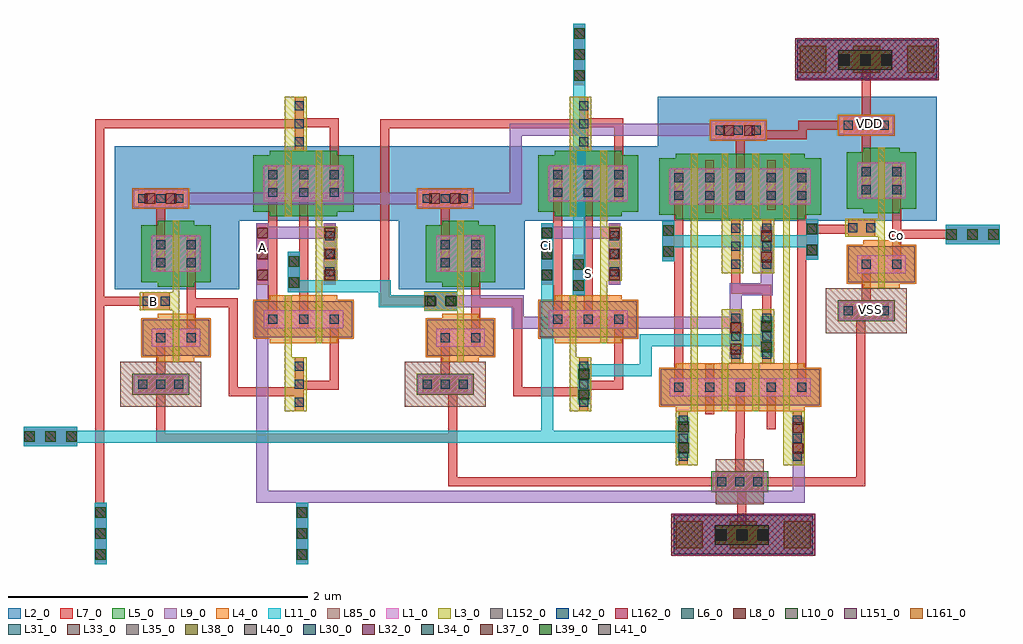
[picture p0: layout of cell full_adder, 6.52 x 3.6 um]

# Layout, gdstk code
import gdstk
lib = gdstk.Library(unit=1e-6, precision=5e-10)
def R(c, l, rs):  # rectangles x0, y0, x1, y1
    for r in rs: c.add(gdstk.rectangle(r[:2], r[2:], *l))
def A(c, l, x, y, w, h, nx, ny, dx, dy):  # array of equal rectangles
    R(c, l, [(x+i*dx, y+j*dy, x+i*dx+w, y+j*dy+h) for i in range(nx) for j in range(ny)])
def P(c, l, *ps):  # polygons
    for p in ps: c.add(gdstk.Polygon(p, *l))
L1_0 = (1, 0)
L2_0 = (2, 0)
L3_0 = (3, 0)
L4_0 = (4, 0)
L5_0 = (5, 0)
L6_0 = (6, 0)
L7_0 = (7, 0)
L8_0 = (8, 0)
L9_0 = (9, 0)
L10_0 = (10, 0)
L11_0 = (11, 0)
L30_0 = (30, 0)
L31_0 = (31, 0)
L32_0 = (32, 0)
L33_0 = (33, 0)
L34_0 = (34, 0)
L35_0 = (35, 0)
L37_0 = (37, 0)
L38_0 = (38, 0)
L39_0 = (39, 0)
L40_0 = (40, 0)
L41_0 = (41, 0)
L42_0 = (42, 0)
L85_0 = (85, 0)
L151_0 = (151, 0)
L152_0 = (152, 0)
L161_0 = (161, 0)
L162_0 = (162, 0)

pmos1v_cdns_764525879260 = lib.new_cell('pmos1v_CDNS_764525879260')
A(pmos1v_cdns_764525879260, L1_0, 0, 0, 0.045, 0.24, 4, 1, 0.205, 0)
A(pmos1v_cdns_764525879260, L1_0, 0.045, 0, 0.16, 0.24, 3, 1, 0.205, 0)
R(pmos1v_cdns_764525879260, L1_0, [(-0.14,0,0,0.24), (0.66,0,0.8,0.24)])
R(pmos1v_cdns_764525879260, L2_0, [(-0.2,-0.06,0.86,0.3)])
A(pmos1v_cdns_764525879260, L3_0, 0, -0.1, 0.045, 0.05, 4, 2, 0.205, 0.05)
A(pmos1v_cdns_764525879260, L3_0, 0, 0, 0.045, 0.24, 4, 1, 0.205, 0)
A(pmos1v_cdns_764525879260, L3_0, 0, 0.24, 0.045, 0.05, 4, 2, 0.205, 0.05)
R(pmos1v_cdns_764525879260, L5_0, [(-0.1,-0.1,0.76,0.34), (-0.21,-0.07,0.87,0.31)])
A(pmos1v_cdns_764525879260, L6_0, -0.11, 0.03, 0.06, 0.06, 5, 2, 0.205, 0.12)
A(pmos1v_cdns_764525879260, L7_0, -0.11, 0, 0.06, 0.24, 5, 1, 0.205, 0)

nmos1v_cdns_764525879261 = lib.new_cell('nmos1v_CDNS_764525879261')
A(nmos1v_cdns_764525879261, L1_0, 0, 0, 0.045, 0.12, 4, 1, 0.205, 0)
A(nmos1v_cdns_764525879261, L1_0, 0.045, 0, 0.16, 0.12, 3, 1, 0.205, 0)
R(nmos1v_cdns_764525879261, L1_0, [(-0.14,0,0,0.12), (0.66,0,0.8,0.12)])
A(nmos1v_cdns_764525879261, L3_0, 0, -0.1, 0.045, 0.05, 4, 2, 0.205, 0.05)
A(nmos1v_cdns_764525879261, L3_0, 0, 0, 0.045, 0.12, 4, 1, 0.205, 0)
A(nmos1v_cdns_764525879261, L3_0, 0, 0.12, 0.045, 0.05, 4, 2, 0.205, 0.05)
R(nmos1v_cdns_764525879261, L4_0, [(-0.1,-0.1,0.76,0.22), (-0.21,-0.07,0.87,0.19)])
A(nmos1v_cdns_764525879261, L6_0, -0.11, 0.03, 0.06, 0.06, 5, 1, 0.205, 0)
A(nmos1v_cdns_764525879261, L7_0, -0.11, 0, 0.06, 0.12, 5, 1, 0.205, 0)
R(nmos1v_cdns_764525879261, L85_0, [(-0.2,-0.06,0.86,0.18)])

nmos1v_cdns_764525879262 = lib.new_cell('nmos1v_CDNS_764525879262')
R(nmos1v_cdns_764525879262, L1_0, [(-0.14,0,0,0.12), (0,0,0.045,0.12), (0.045,0,0.185,0.12)])
R(nmos1v_cdns_764525879262, L3_0, [(0,-0.1,0.045,-0.05), (0,-0.05,0.045,0), (0,0,0.045,0.12), (0,0.12,0.045,0.17), (0,0.17,0.045,0.22)])
R(nmos1v_cdns_764525879262, L4_0, [(-0.1,-0.1,0.145,0.22), (-0.21,-0.07,0.255,0.19)])
R(nmos1v_cdns_764525879262, L6_0, [(-0.11,0.03,-0.05,0.09), (0.095,0.03,0.155,0.09)])
R(nmos1v_cdns_764525879262, L7_0, [(-0.11,0,-0.05,0.12), (0.095,0,0.155,0.12)])
R(nmos1v_cdns_764525879262, L85_0, [(-0.2,-0.06,0.245,0.18)])

pmos1v_cdns_764525879263 = lib.new_cell('pmos1v_CDNS_764525879263')
R(pmos1v_cdns_764525879263, L1_0, [(-0.14,0,0,0.24), (0,0,0.045,0.24), (0.045,0,0.185,0.24)])
R(pmos1v_cdns_764525879263, L2_0, [(-0.2,-0.06,0.245,0.3)])
R(pmos1v_cdns_764525879263, L3_0, [(0,-0.1,0.045,-0.05), (0,-0.05,0.045,0), (0,0,0.045,0.24), (0,0.24,0.045,0.29), (0,0.29,0.045,0.34)])
R(pmos1v_cdns_764525879263, L5_0, [(-0.1,-0.1,0.145,0.34), (-0.21,-0.07,0.255,0.31)])
R(pmos1v_cdns_764525879263, L6_0, [(-0.11,0.03,-0.05,0.09), (0.095,0.03,0.155,0.09), (-0.11,0.15,-0.05,0.21), (0.095,0.15,0.155,0.21)])
R(pmos1v_cdns_764525879263, L7_0, [(-0.11,0,-0.05,0.24), (0.095,0,0.155,0.24)])

m1_psub_cdns_76452587926 = lib.new_cell('M1_PSUB_CDNS_7645258792619')
R(m1_psub_cdns_76452587926, L1_0, [(-0.18,-0.06,0.18,0.06)])
R(m1_psub_cdns_76452587926, L5_0, [(-0.19,-0.07,0.19,0.07)])
A(m1_psub_cdns_76452587926, L6_0, -0.15, -0.03, 0.06, 0.06, 3, 1, 0.12, 0)
R(m1_psub_cdns_76452587926, L7_0, [(-0.15,-0.06,0.15,0.06)])
R(m1_psub_cdns_76452587926, L85_0, [(-0.27,-0.15,0.27,0.15)])

m1_po_cdns_7645258792620 = lib.new_cell('M1_PO_CDNS_7645258792620')
R(m1_po_cdns_7645258792620, L3_0, [(-0.11,-0.06,0.11,0.06)])
R(m1_po_cdns_7645258792620, L6_0, [(-0.09,-0.03,-0.03,0.03), (0.03,-0.03,0.09,0.03)])
R(m1_po_cdns_7645258792620, L7_0, [(-0.09,-0.06,0.09,0.06)])

m1_nwell_cdns_7645258792 = lib.new_cell('M1_NWELL_CDNS_7645258792621')
R(m1_nwell_cdns_7645258792, L1_0, [(-0.18,-0.06,0.18,0.06)])
R(m1_nwell_cdns_7645258792, L2_0, [(-0.27,-0.15,0.27,0.15)])
R(m1_nwell_cdns_7645258792, L4_0, [(-0.19,-0.07,0.19,0.07)])
A(m1_nwell_cdns_7645258792, L6_0, -0.15, -0.03, 0.06, 0.06, 3, 1, 0.12, 0)
R(m1_nwell_cdns_7645258792, L7_0, [(-0.15,-0.06,0.15,0.06)])

inv = lib.new_cell('inv')
R(inv, L2_0, [(-0.4,0.12,0.345,0.9)])
R(inv, L7_0, [(-0.12,-0.51,-0.095,-0.5), (0.09,0.005,0.12,0.06), (-0.09,0.035,-0.07,0.05), (-0.105,0.695,-0.09,0.71)])
inv.add(gdstk.FlexPath([(-0.0025,-0.05),(-0.0025,0.13)], 0.045, ends="flush", simple_path=True, layer=3, datatype=0))  # L3_0
inv.add(gdstk.FlexPath([(0.1,-0.15),(0.1,0.23)], 0.06, ends="flush", simple_path=True, layer=7, datatype=0))  # L7_0
inv.add(gdstk.FlexPath([(-0.105,-0.52),(-0.105,-0.245)], 0.06, ends="flush", simple_path=True, layer=7, datatype=0))  # L7_0
inv.add(gdstk.FlexPath([(-0.105,0.47),(-0.105,0.72)], 0.06, ends="flush", simple_path=True, layer=7, datatype=0))  # L7_0
inv.add(gdstk.Reference(nmos1v_cdns_764525879262, (-0.025,-0.27)))
inv.add(gdstk.Reference(pmos1v_cdns_764525879263, (-0.025,0.23)))
inv.add(gdstk.Reference(m1_psub_cdns_76452587926, (-0.105,-0.52)))
inv.add(gdstk.Reference(m1_po_cdns_7645258792620, (-0.135,0.035)))
inv.add(gdstk.Reference(m1_nwell_cdns_7645258792, (-0.105,0.72)))
inv.add(gdstk.Label('OUT', (0.105,0.03), layer=7, texttype=0))
inv.add(gdstk.Label('IN', (-0.08,0.045), layer=7, texttype=0))
inv.add(gdstk.Label('VSS', (-0.105,-0.505), layer=7, texttype=0))
inv.add(gdstk.Label('VDD', (-0.095,0.705), layer=7, texttype=0))

pmos1v_cdns_764525879264 = lib.new_cell('pmos1v_CDNS_764525879264')
R(pmos1v_cdns_764525879264, L1_0, [(-0.14,0,0,0.24), (0,0,0.045,0.24), (0.045,0,0.205,0.24), (0.205,0,0.25,0.24), (0.25,0,0.39,0.24)])
R(pmos1v_cdns_764525879264, L2_0, [(-0.2,-0.06,0.45,0.3)])
R(pmos1v_cdns_764525879264, L3_0, [(0,-0.1,0.045,-0.05), (0.205,-0.1,0.25,-0.05), (0,-0.05,0.045,0), (0.205,-0.05,0.25,0), (0,0,0.045,0.24), (0.205,0,0.25,0.24), (0,0.24,0.045,0.29), (0.205,0.24,0.25,0.29), (0,0.29,0.045,0.34), (0.205,0.29,0.25,0.34)])
R(pmos1v_cdns_764525879264, L5_0, [(-0.1,-0.1,0.35,0.34), (-0.21,-0.07,0.46,0.31)])
A(pmos1v_cdns_764525879264, L6_0, -0.11, 0.03, 0.06, 0.06, 3, 2, 0.205, 0.12)
A(pmos1v_cdns_764525879264, L7_0, -0.11, 0, 0.06, 0.24, 3, 1, 0.205, 0)

nmos1v_cdns_764525879265 = lib.new_cell('nmos1v_CDNS_764525879265')
R(nmos1v_cdns_764525879265, L1_0, [(-0.14,0,0,0.12), (0,0,0.045,0.12), (0.045,0,0.205,0.12), (0.205,0,0.25,0.12), (0.25,0,0.39,0.12)])
R(nmos1v_cdns_764525879265, L3_0, [(0,-0.1,0.045,-0.05), (0.205,-0.1,0.25,-0.05), (0,-0.05,0.045,0), (0.205,-0.05,0.25,0), (0,0,0.045,0.12), (0.205,0,0.25,0.12), (0,0.12,0.045,0.17), (0.205,0.12,0.25,0.17), (0,0.17,0.045,0.22), (0.205,0.17,0.25,0.22)])
R(nmos1v_cdns_764525879265, L4_0, [(-0.1,-0.1,0.35,0.22), (-0.21,-0.07,0.46,0.19)])
A(nmos1v_cdns_764525879265, L6_0, -0.11, 0.03, 0.06, 0.06, 3, 1, 0.205, 0)
A(nmos1v_cdns_764525879265, L7_0, -0.11, 0, 0.06, 0.12, 3, 1, 0.205, 0)
R(nmos1v_cdns_764525879265, L85_0, [(-0.2,-0.06,0.45,0.18)])

m2_m1_cdns_764525879268 = lib.new_cell('M2_M1_CDNS_764525879268')
R(m2_m1_cdns_764525879268, L7_0, [(-0.04,-0.205,0.04,0.205)])
A(m2_m1_cdns_764525879268, L8_0, -0.035, -0.175, 0.07, 0.07, 1, 3, 0, 0.14)
R(m2_m1_cdns_764525879268, L9_0, [(-0.04,-0.205,0.04,0.205)])

m1_po_cdns_764525879260 = lib.new_cell('M1_PO_CDNS_764525879260')
R(m1_po_cdns_764525879260, L3_0, [(-0.05,-0.18,0.05,0.18)])
A(m1_po_cdns_764525879260, L6_0, -0.03, -0.15, 0.06, 0.06, 1, 3, 0, 0.12)
R(m1_po_cdns_764525879260, L7_0, [(-0.03,-0.18,0.03,0.18)])

xor = lib.new_cell('xor')
R(xor, L2_0, [(0.095,0.565,0.81,1.025)])
P(xor, L2_0, [(-0.8,0.095),(0.02,0.095),(0.02,0.55),(0.855,0.55),(0.855,1.04),(-0.8,1.04)])
R(xor, L7_0, [(-0.465,-0.55,-0.42,-0.515), (0.415,-0.495,0.445,-0.48), (0.44,0.24,0.465,0.265), (-0.575,0.705,-0.53,0.74), (0.41,1.185,0.45,1.27)])
xor.add(gdstk.FlexPath([(0.3525,1.015),(0.3525,1.375)], 0.045, ends="flush", simple_path=True, layer=3, datatype=0))  # L3_0
xor.add(gdstk.FlexPath([(0.5575,0.05),(0.5575,0.575)], 0.045, ends="flush", simple_path=True, layer=3, datatype=0))  # L3_0
xor.add(gdstk.FlexPath([(0.3525,-0.27),(0.3525,-0.725)], 0.045, ends="flush", simple_path=True, layer=3, datatype=0))  # L3_0
xor.add(gdstk.FlexPath([(-0.015,0),(-0.265,0)], 0.06, ends=(0.03, 0), simple_path=True, layer=7, datatype=0))  # L7_0
xor.add(gdstk.FlexPath([(-0.015,-0.595),(-0.015,0)], 0.06, ends="extended", simple_path=True, layer=7, datatype=0))  # L7_0
xor.add(gdstk.FlexPath([(0.425,-0.595),(-0.015,-0.595)], 0.06, ends="extended", simple_path=True, layer=7, datatype=0))  # L7_0
xor.add(gdstk.FlexPath([(0.425,-0.55),(0.425,-0.595)], 0.06, ends="extended", simple_path=True, layer=7, datatype=0))  # L7_0
xor.add(gdstk.FlexPath([(-0.905,1.195),(0.395,1.195)], 0.06, ends=(0.03, 0), simple_path=True, layer=7, datatype=0))  # L7_0
xor.add(gdstk.FlexPath([(-0.905,0.01),(-0.905,1.195)], 0.06, ends="extended", simple_path=True, layer=7, datatype=0))  # L7_0
xor.add(gdstk.FlexPath([(-0.53,0.01),(-0.905,0.01)], 0.06, ends=(0, 0.03), simple_path=True, layer=7, datatype=0))  # L7_0
xor.add(gdstk.FlexPath([(0.66,0.915),(0.66,1.2)], 0.06, ends=(0, 0.03), simple_path=True, layer=7, datatype=0))  # L7_0
xor.add(gdstk.FlexPath([(0.66,1.2),(0.455,1.2)], 0.06, ends=(0.03, 0), simple_path=True, layer=7, datatype=0))  # L7_0
xor.add(gdstk.FlexPath([(0.455,0.675),(0.455,-0.05)], 0.06, ends="flush", simple_path=True, layer=7, datatype=0))  # L7_0
xor.add(gdstk.FlexPath([(0.25,0.675),(0.25,-0.05)], 0.06, ends="flush", simple_path=True, layer=7, datatype=0))  # L7_0
xor.add(gdstk.FlexPath([(0.425,-0.55),(0.425,-0.545)], 0.06, ends=(0.03, 0), simple_path=True, layer=7, datatype=0))  # L7_0
xor.add(gdstk.FlexPath([(0.66,-0.55),(0.425,-0.55)], 0.06, ends="extended", simple_path=True, layer=7, datatype=0))  # L7_0
xor.add(gdstk.FlexPath([(0.66,-0.17),(0.66,-0.55)], 0.06, ends=(0, 0.03), simple_path=True, layer=7, datatype=0))  # L7_0
xor.add(gdstk.FlexPath([(0.18,0.465),(0.59,0.465)], 0.08, ends="flush", simple_path=True, layer=9, datatype=0))  # L9_0
xor.add(gdstk.Reference(inv, (-0.395,-0.025)))
xor.add(gdstk.Reference(pmos1v_cdns_764525879264, (0.33,0.675)))
xor.add(gdstk.Reference(nmos1v_cdns_764525879265, (0.33,-0.17)))
xor.add(gdstk.Reference(m2_m1_cdns_764525879268, (0.63,0.325)))
xor.add(gdstk.Reference(m2_m1_cdns_764525879268, (0.18,0.325)))
xor.add(gdstk.Reference(m1_po_cdns_764525879260, (0.425,1.195)))
xor.add(gdstk.Reference(m1_po_cdns_764525879260, (0.63,0.325)))
xor.add(gdstk.Reference(m1_po_cdns_764525879260, (0.425,-0.545)))
xor.add(gdstk.Label('VSS', (-0.445,-0.53), layer=7, texttype=0))
xor.add(gdstk.Label('VDD', (-0.55,0.72), layer=7, texttype=0))
xor.add(gdstk.Label('B_Bar', (0.435,-0.485), layer=7, texttype=0))
xor.add(gdstk.Label('OUT', (0.455,0.25), layer=7, texttype=0))
xor.add(gdstk.Label('B', (0.43,1.25), layer=7, texttype=0))

m2_m1_cdns_764525879261 = lib.new_cell('M2_M1_CDNS_764525879261')
R(m2_m1_cdns_764525879261, L7_0, [(-0.04,-0.135,0.04,0.135)])
R(m2_m1_cdns_764525879261, L8_0, [(-0.035,-0.105,0.035,-0.035), (-0.035,0.035,0.035,0.105)])
R(m2_m1_cdns_764525879261, L9_0, [(-0.04,-0.135,0.04,0.135)])

m3_m2_cdns_764525879262 = lib.new_cell('M3_M2_CDNS_764525879262')
R(m3_m2_cdns_764525879262, L9_0, [(-0.04,-0.135,0.04,0.135)])
R(m3_m2_cdns_764525879262, L10_0, [(-0.035,-0.105,0.035,-0.035), (-0.035,0.035,0.035,0.105)])
R(m3_m2_cdns_764525879262, L11_0, [(-0.04,-0.135,0.04,0.135)])

c_m1_nwell_cdns_7645258792 = lib.new_cell('M1_NWELL_CDNS_764525879263')
R(c_m1_nwell_cdns_7645258792, L1_0, [(-0.18,-0.06,0.18,0.06)])
R(c_m1_nwell_cdns_7645258792, L2_0, [(-0.21,-0.15,0.21,0.15)])
R(c_m1_nwell_cdns_7645258792, L4_0, [(-0.19,-0.07,0.19,0.07)])
A(c_m1_nwell_cdns_7645258792, L6_0, -0.15, -0.03, 0.06, 0.06, 3, 1, 0.12, 0)
R(c_m1_nwell_cdns_7645258792, L7_0, [(-0.15,-0.06,0.15,0.06)])

c_m1_psub_cdns_76452587926 = lib.new_cell('M1_PSUB_CDNS_764525879264')
R(c_m1_psub_cdns_76452587926, L1_0, [(-0.18,-0.06,0.18,0.06)])
R(c_m1_psub_cdns_76452587926, L5_0, [(-0.19,-0.07,0.19,0.07)])
A(c_m1_psub_cdns_76452587926, L6_0, -0.15, -0.03, 0.06, 0.06, 3, 1, 0.12, 0)
R(c_m1_psub_cdns_76452587926, L7_0, [(-0.15,-0.06,0.15,0.06)])
R(c_m1_psub_cdns_76452587926, L85_0, [(-0.16,-0.15,0.16,0.15)])

m2_m1_cdns_764525879265 = lib.new_cell('M2_M1_CDNS_764525879265')
R(m2_m1_cdns_764525879265, L7_0, [(-0.11,-0.065,0.11,0.065)])
R(m2_m1_cdns_764525879265, L8_0, [(-0.105,-0.035,-0.035,0.035), (0.035,-0.035,0.105,0.035)])
R(m2_m1_cdns_764525879265, L9_0, [(-0.11,-0.065,0.11,0.065)])

m3_m2_cdns_764525879266 = lib.new_cell('M3_M2_CDNS_764525879266')
R(m3_m2_cdns_764525879266, L9_0, [(-0.11,-0.065,0.11,0.065)])
R(m3_m2_cdns_764525879266, L10_0, [(-0.105,-0.035,-0.035,0.035), (0.035,-0.035,0.105,0.035)])
R(m3_m2_cdns_764525879266, L11_0, [(-0.11,-0.065,0.11,0.065)])

m3_m2_cdns_764525879267 = lib.new_cell('M3_M2_CDNS_764525879267')
R(m3_m2_cdns_764525879267, L9_0, [(-0.04,-0.205,0.04,0.205)])
A(m3_m2_cdns_764525879267, L10_0, -0.035, -0.175, 0.07, 0.07, 1, 3, 0, 0.14)
R(m3_m2_cdns_764525879267, L11_0, [(-0.04,-0.205,0.04,0.205)])

m3_m2_cdns_764525879269 = lib.new_cell('M3_M2_CDNS_764525879269')
R(m3_m2_cdns_764525879269, L9_0, [(-0.18,-0.065,0.18,0.065)])
A(m3_m2_cdns_764525879269, L10_0, -0.175, -0.035, 0.07, 0.07, 3, 1, 0.14, 0)
R(m3_m2_cdns_764525879269, L11_0, [(-0.18,-0.065,0.18,0.065)])

m2_m1_cdns_7645258792610 = lib.new_cell('M2_M1_CDNS_7645258792610')
R(m2_m1_cdns_7645258792610, L7_0, [(-0.18,-0.065,0.18,0.065)])
A(m2_m1_cdns_7645258792610, L8_0, -0.175, -0.035, 0.07, 0.07, 3, 1, 0.14, 0)
R(m2_m1_cdns_7645258792610, L9_0, [(-0.18,-0.065,0.18,0.065)])

m4_m3_cdns_7645258792611 = lib.new_cell('M4_M3_CDNS_7645258792611')
R(m4_m3_cdns_7645258792611, L11_0, [(-0.18,-0.065,0.18,0.065)])
A(m4_m3_cdns_7645258792611, L30_0, -0.175, -0.035, 0.07, 0.07, 3, 1, 0.14, 0)
R(m4_m3_cdns_7645258792611, L31_0, [(-0.18,-0.065,0.18,0.065)])

m5_m4_cdns_7645258792612 = lib.new_cell('M5_M4_CDNS_7645258792612')
R(m5_m4_cdns_7645258792612, L31_0, [(-0.18,-0.065,0.18,0.065)])
A(m5_m4_cdns_7645258792612, L32_0, -0.175, -0.035, 0.07, 0.07, 3, 1, 0.14, 0)
R(m5_m4_cdns_7645258792612, L33_0, [(-0.18,-0.065,0.18,0.065)])

m6_m5_cdns_7645258792613 = lib.new_cell('M6_M5_CDNS_7645258792613')
R(m6_m5_cdns_7645258792613, L33_0, [(-0.18,-0.065,0.18,0.065)])
A(m6_m5_cdns_7645258792613, L34_0, -0.175, -0.035, 0.07, 0.07, 3, 1, 0.14, 0)
R(m6_m5_cdns_7645258792613, L35_0, [(-0.18,-0.065,0.18,0.065)])

m7_m6_cdns_7645258792614 = lib.new_cell('M7_M6_CDNS_7645258792614')
R(m7_m6_cdns_7645258792614, L35_0, [(-0.18,-0.065,0.18,0.065)])
A(m7_m6_cdns_7645258792614, L37_0, -0.175, -0.035, 0.07, 0.07, 3, 1, 0.14, 0)
R(m7_m6_cdns_7645258792614, L38_0, [(-0.18,-0.065,0.18,0.065)])

m8_m7_cdns_7645258792615 = lib.new_cell('M8_M7_CDNS_7645258792615')
R(m8_m7_cdns_7645258792615, L38_0, [(-0.18,-0.065,0.18,0.065)])
A(m8_m7_cdns_7645258792615, L39_0, -0.175, -0.035, 0.07, 0.07, 3, 1, 0.14, 0)
R(m8_m7_cdns_7645258792615, L40_0, [(-0.18,-0.065,0.18,0.065)])

m9_m8_cdns_7645258792616 = lib.new_cell('M9_M8_CDNS_7645258792616')
R(m9_m8_cdns_7645258792616, L40_0, [(-0.18,-0.065,0.18,0.065)])
A(m9_m8_cdns_7645258792616, L41_0, -0.175, -0.035, 0.07, 0.07, 3, 1, 0.14, 0)
R(m9_m8_cdns_7645258792616, L42_0, [(-0.18,-0.065,0.18,0.065)])

m10_m9_cdns_764525879261 = lib.new_cell('M10_M9_CDNS_7645258792617')
R(m10_m9_cdns_764525879261, L42_0, [(-0.465,-0.13,0.465,0.13)])
A(m10_m9_cdns_764525879261, L151_0, -0.45, -0.09, 0.18, 0.18, 3, 1, 0.36, 0)
R(m10_m9_cdns_764525879261, L152_0, [(-0.48,-0.14,0.48,0.14)])

m11_m10_cdns_76452587926 = lib.new_cell('M11_M10_CDNS_7645258792618')
R(m11_m10_cdns_76452587926, L152_0, [(-0.47,-0.13,0.47,0.13)])
A(m11_m10_cdns_76452587926, L161_0, -0.45, -0.09, 0.18, 0.18, 3, 1, 0.36, 0)
R(m11_m10_cdns_76452587926, L162_0, [(-0.48,-0.14,0.48,0.14)])

full_adder = lib.new_cell('full_adder')
R(full_adder, L2_0, [(0.23,0.125,2.075,0.915), (1.565,0.685,1.72,0.775)])
P(full_adder, L2_0, [(2.085,0.92),(0.225,0.92),(0.225,0.59),(-3.4,0.59),(-3.4,-0.365),(-2.57,-0.365),(-2.57,0.09),(-1.505,0.09),(-1.505,-0.365),(-0.665,-0.365),(-0.665,0.09),(2.085,0.09)])
R(full_adder, L7_0, [(1.575,-0.525,1.695,-0.47), (-3.2,-0.495,-3.09,-0.415), (-0.25,-0.275,-0.23,-0.25), (-2.43,-0.125,-2.395,-0.055), (-0.535,-0.12,-0.495,-0.05), (1.805,-0.025,1.835,0.005)])
full_adder.add(gdstk.FlexPath([(0.785,-1.995),(0.785,-1.65)], 0.06, ends=(0, 0.03), simple_path=True, layer=7, datatype=0))  # L7_0
full_adder.add(gdstk.FlexPath([(1.615,0.73),(1.615,1.1)], 0.06, ends="flush", simple_path=True, layer=7, datatype=0))  # L7_0
full_adder.add(gdstk.FlexPath([(1.82,0),(2.325,0)], 0.06, ends="flush", simple_path=True, layer=7, datatype=0))  # L7_0
full_adder.add(gdstk.FlexPath([(0.98,0.2),(0.98,0.16)], 0.06, ends="flush", simple_path=True, layer=7, datatype=0))  # L7_0
full_adder.add(gdstk.FlexPath([(0.98,0.44),(0.98,0.5)], 0.06, ends="flush", simple_path=True, layer=7, datatype=0))  # L7_0
full_adder.add(gdstk.FlexPath([(0.57,0.2),(0.57,0.14)], 0.06, ends="flush", simple_path=True, layer=7, datatype=0))  # L7_0
full_adder.add(gdstk.FlexPath([(0.57,0.44),(0.57,0.5)], 0.06, ends="flush", simple_path=True, layer=7, datatype=0))  # L7_0
full_adder.add(gdstk.FlexPath([(-1.145,-1.65),(-1.145,-1.39)], 0.06, ends=(0.03, 0), simple_path=True, layer=7, datatype=0))  # L7_0
full_adder.add(gdstk.FlexPath([(0.785,-1.65),(-1.145,-1.65)], 0.06, ends="extended", simple_path=True, layer=7, datatype=0))  # L7_0
full_adder.add(gdstk.FlexPath([(-1.145,-1.36),(-1.145,-1.005)], 0.06, ends=(0.03, 0), simple_path=True, layer=7, datatype=0))  # L7_0
full_adder.add(gdstk.FlexPath([(-3.095,-1.36),(-1.145,-1.36)], 0.06, ends="extended", simple_path=True, layer=7, datatype=0))  # L7_0
full_adder.add(gdstk.FlexPath([(-3.095,-1),(-3.095,-1.36)], 0.06, ends=(0, 0.03), simple_path=True, layer=7, datatype=0))  # L7_0
full_adder.add(gdstk.FlexPath([(-3.5,-0.445),(-3.5,-1.8)], 0.06, ends="flush", simple_path=True, layer=7, datatype=0))  # L7_0
full_adder.add(gdstk.FlexPath([(1.575,-0.51),(1.575,-0.515)], 0.06, ends=(0.03, 0), simple_path=True, layer=7, datatype=0))  # L7_0
full_adder.add(gdstk.FlexPath([(1.58,-0.51),(1.575,-0.51)], 0.06, ends="extended", simple_path=True, layer=7, datatype=0))  # L7_0
full_adder.add(gdstk.FlexPath([(1.58,-1.65),(1.58,-0.51)], 0.06, ends="extended", simple_path=True, layer=7, datatype=0))  # L7_0
full_adder.add(gdstk.FlexPath([(0.785,-1.65),(1.58,-1.65)], 0.06, ends="extended", simple_path=True, layer=7, datatype=0))  # L7_0
full_adder.add(gdstk.FlexPath([(0.77,-1.33),(0.77,-1.65)], 0.06, ends=(0, 0.03), simple_path=True, layer=7, datatype=0))  # L7_0
full_adder.add(gdstk.FlexPath([(1.495,0.035),(1.255,0.035)], 0.06, ends=(0, 0.04), simple_path=True, layer=7, datatype=0))  # L7_0
full_adder.add(gdstk.FlexPath([(1.19,0.73),(1.465,0.73)], 0.06, ends=(0.03, 0), simple_path=True, layer=7, datatype=0))  # L7_0
full_adder.add(gdstk.FlexPath([(1.19,0.665),(1.19,0.73)], 0.06, ends="extended", simple_path=True, layer=7, datatype=0))  # L7_0
full_adder.add(gdstk.FlexPath([(0.775,0.665),(1.19,0.665)], 0.06, ends="extended", simple_path=True, layer=7, datatype=0))  # L7_0
full_adder.add(gdstk.FlexPath([(0.76,0.665),(0.775,0.665)], 0.06, ends=(0.15, 0.03), simple_path=True, layer=7, datatype=0))  # L7_0
full_adder.add(gdstk.FlexPath([(0.76,0.695),(0.76,0.665)], 0.3, ends=(0, 0.03), simple_path=True, layer=7, datatype=0))  # L7_0
full_adder.add(gdstk.FlexPath([(1.255,0.035),(1.255,-0.035)], 0.08, ends=(0.03, 0), simple_path=True, layer=7, datatype=0))  # L7_0
full_adder.add(gdstk.FlexPath([(0.775,0.44),(0.775,0.665)], 0.06, ends=(0, 0.03), simple_path=True, layer=7, datatype=0))  # L7_0
full_adder.add(gdstk.FlexPath([(0.775,-1.08),(0.775,-1.33)], 0.06, ends=(0, 0.03), simple_path=True, layer=7, datatype=0))  # L7_0
full_adder.add(gdstk.FlexPath([(1.185,-0.96),(1.185,0.2)], 0.06, ends="flush", simple_path=True, layer=7, datatype=0))  # L7_0
full_adder.add(gdstk.FlexPath([(0.365,0.2),(0.365,-0.96)], 0.06, ends="flush", simple_path=True, layer=7, datatype=0))  # L7_0
full_adder.add(gdstk.FlexPath([(0.745,-0.08),(0.745,-0.365)], 0.06, ends=(0, 0.03), simple_path=True, layer=7, datatype=0))  # L7_0
full_adder.add(gdstk.FlexPath([(0.95,-0.365),(0.95,-0.68)], 0.06, ends=(0.03, 0), simple_path=True, layer=7, datatype=0))  # L7_0
full_adder.add(gdstk.FlexPath([(0.745,-0.365),(0.95,-0.365)], 0.06, ends="extended", simple_path=True, layer=7, datatype=0))  # L7_0
full_adder.add(gdstk.FlexPath([(0.98,-1.08),(0.98,-1.3)], 0.06, ends="flush", simple_path=True, layer=7, datatype=0))  # L7_0
full_adder.add(gdstk.FlexPath([(0.57,-0.96),(0.57,-0.86)], 0.06, ends="flush", simple_path=True, layer=7, datatype=0))  # L7_0
full_adder.add(gdstk.FlexPath([(0.57,-1.08),(0.57,-1.2)], 0.06, ends="flush", simple_path=True, layer=7, datatype=0))  # L7_0
full_adder.add(gdstk.FlexPath([(0.4675,-1.18),(0.4675,-1.54)], 0.045, ends="flush", simple_path=True, layer=3, datatype=0))  # L3_0
full_adder.add(gdstk.FlexPath([(1.0825,-1.18),(1.0825,-1.54)], 0.045, ends="flush", simple_path=True, layer=3, datatype=0))  # L3_0
full_adder.add(gdstk.FlexPath([(0.8775,0.1),(0.8775,-0.26)], 0.045, ends="flush", simple_path=True, layer=3, datatype=0))  # L3_0
full_adder.add(gdstk.FlexPath([(0.8775,-0.86),(0.8775,-0.5)], 0.045, ends="flush", simple_path=True, layer=3, datatype=0))  # L3_0
full_adder.add(gdstk.FlexPath([(0.6725,-0.86),(0.6725,-0.5)], 0.045, ends="flush", simple_path=True, layer=3, datatype=0))  # L3_0
full_adder.add(gdstk.FlexPath([(0.6725,0.1),(0.6725,-0.26)], 0.045, ends="flush", simple_path=True, layer=3, datatype=0))  # L3_0
full_adder.add(gdstk.FlexPath([(1.0825,0.1),(1.0825,-0.86)], 0.045, ends="flush", simple_path=True, layer=3, datatype=0))  # L3_0
full_adder.add(gdstk.FlexPath([(0.4675,0.1),(0.4675,-0.86)], 0.045, ends="flush", simple_path=True, layer=3, datatype=0))  # L3_0
full_adder.add(gdstk.FlexPath([(1.16,-1.36),(1.165,-1.36)], 0.08, ends=(0, 0.04), simple_path=True, layer=9, datatype=0))  # L9_0
full_adder.add(gdstk.FlexPath([(0.745,-0.59),(0.745,-0.365)], 0.08, ends="extended", simple_path=True, layer=9, datatype=0))  # L9_0
full_adder.add(gdstk.FlexPath([(0.725,0.7),(0.725,0.695)], 0.08, ends=(0.04, 0), simple_path=True, layer=9, datatype=0))  # L9_0
full_adder.add(gdstk.FlexPath([(-0.725,0.7),(0.725,0.7)], 0.08, ends="extended", simple_path=True, layer=9, datatype=0))  # L9_0
full_adder.add(gdstk.FlexPath([(-0.725,0.24),(-0.725,0.7)], 0.08, ends="extended", simple_path=True, layer=9, datatype=0))  # L9_0
full_adder.add(gdstk.FlexPath([(-1.195,0.24),(-0.725,0.24)], 0.08, ends=(0, 0.04), simple_path=True, layer=9, datatype=0))  # L9_0
full_adder.add(gdstk.FlexPath([(-3.095,0.24),(-1.195,0.24)], 0.08, ends="flush", simple_path=True, layer=9, datatype=0))  # L9_0
full_adder.add(gdstk.FlexPath([(1.165,-1.36),(1.165,-1.75)], 0.08, ends="extended", simple_path=True, layer=9, datatype=0))  # L9_0
full_adder.add(gdstk.FlexPath([(-2.415,-1.75),(-2.415,-0.13)], 0.08, ends=(0.04, 0), simple_path=True, layer=9, datatype=0))  # L9_0
full_adder.add(gdstk.FlexPath([(-0.71,-0.59),(0.745,-0.59)], 0.08, ends="extended", simple_path=True, layer=9, datatype=0))  # L9_0
full_adder.add(gdstk.FlexPath([(-0.71,-0.445),(-0.71,-0.59)], 0.08, ends="extended", simple_path=True, layer=9, datatype=0))  # L9_0
full_adder.add(gdstk.FlexPath([(-1.225,-0.445),(-0.71,-0.445)], 0.08, ends=(0, 0.04), simple_path=True, layer=9, datatype=0))  # L9_0
full_adder.add(gdstk.FlexPath([(1.165,-1.75),(-2.415,-1.75)], 0.08, ends="extended", simple_path=True, layer=9, datatype=0))  # L9_0
full_adder.add(gdstk.FlexPath([(0.745,-0.695),(0.745,-0.59)], 0.08, ends=(0, 0.04), simple_path=True, layer=9, datatype=0))  # L9_0
full_adder.add(gdstk.FlexPath([(0.95,-0.365),(0.95,-0.08)], 0.08, ends=(0.04, 0), simple_path=True, layer=9, datatype=0))  # L9_0
full_adder.add(gdstk.FlexPath([(0.745,-0.365),(0.95,-0.365)], 0.08, ends="extended", simple_path=True, layer=9, datatype=0))  # L9_0
full_adder.add(gdstk.FlexPath([(-0.515,-1.35),(0.395,-1.35)], 0.08, ends="extended", simple_path=True, layer=11, datatype=0))  # L11_0
full_adder.add(gdstk.FlexPath([(-0.515,-0.13),(-0.515,-1.35)], 0.08, ends=(0, 0.04), simple_path=True, layer=11, datatype=0))  # L11_0
full_adder.add(gdstk.FlexPath([(-1.6,-0.445),(-1.225,-0.445)], 0.08, ends=(0.04, 0), simple_path=True, layer=11, datatype=0))  # L11_0
full_adder.add(gdstk.FlexPath([(-1.6,-0.345),(-1.6,-0.445)], 0.08, ends="extended", simple_path=True, layer=11, datatype=0))  # L11_0
full_adder.add(gdstk.FlexPath([(-2.205,-0.345),(-1.6,-0.345)], 0.08, ends="extended", simple_path=True, layer=11, datatype=0))  # L11_0
full_adder.add(gdstk.FlexPath([(-2.205,-0.25),(-2.205,-0.345)], 0.08, ends=(0, 0.04), simple_path=True, layer=11, datatype=0))  # L11_0
full_adder.add(gdstk.FlexPath([(0.395,-1.35),(0.395,-1.355)], 0.08, ends=(0.04, 0), simple_path=True, layer=11, datatype=0))  # L11_0
full_adder.add(gdstk.FlexPath([(-0.515,-1.35),(-3.65,-1.35)], 0.08, ends=(0.04, 0), simple_path=True, layer=11, datatype=0))  # L11_0
full_adder.add(gdstk.FlexPath([(0.145,-0.705),(0.95,-0.705)], 0.08, ends=(0.04, 0), simple_path=True, layer=11, datatype=0))  # L11_0
full_adder.add(gdstk.FlexPath([(0.145,-0.905),(0.145,-0.705)], 0.08, ends="extended", simple_path=True, layer=11, datatype=0))  # L11_0
full_adder.add(gdstk.FlexPath([(-0.27,-0.905),(0.145,-0.905)], 0.08, ends="extended", simple_path=True, layer=11, datatype=0))  # L11_0
full_adder.add(gdstk.FlexPath([(-0.27,-1),(-0.27,-0.905)], 0.08, ends=(0, 0.04), simple_path=True, layer=11, datatype=0))  # L11_0
full_adder.add(gdstk.FlexPath([(1.255,-0.035),(1.255,-0.045)], 0.08, ends=(0, 0.04), simple_path=True, layer=11, datatype=0))  # L11_0
full_adder.add(gdstk.FlexPath([(1.255,-0.045),(0.295,-0.045)], 0.08, ends=(0.04, 0), simple_path=True, layer=11, datatype=0))  # L11_0
full_adder.add(gdstk.FlexPath([(-0.3,-0.27),(-0.305,-0.27)], 0.08, ends=(0.04, 0), simple_path=True, layer=11, datatype=0))  # L11_0
full_adder.add(gdstk.FlexPath([(-0.3,1.2),(-0.3,-0.27)], 0.08, ends=(0, 0.04), simple_path=True, layer=11, datatype=0))  # L11_0
full_adder.add(gdstk.Reference(pmos1v_cdns_764525879260, (0.445,0.2)))
full_adder.add(gdstk.Reference(nmos1v_cdns_764525879261, (0.445,-1.08)))
full_adder.add(gdstk.Reference(inv, (1.72,0.01)))
full_adder.add(gdstk.Reference(xor, (-2.595,-0.455)))
full_adder.add(gdstk.Reference(xor, (-0.695,-0.455)))
full_adder.add(gdstk.Reference(m1_po_cdns_764525879260, (0.395,-1.36)))
full_adder.add(gdstk.Reference(m1_po_cdns_764525879260, (1.155,-1.36)))
full_adder.add(gdstk.Reference(m1_po_cdns_764525879260, (0.95,-0.68)))
full_adder.add(gdstk.Reference(m1_po_cdns_764525879260, (0.95,-0.08)))
full_adder.add(gdstk.Reference(m1_po_cdns_764525879260, (0.745,-0.68)))
full_adder.add(gdstk.Reference(m1_po_cdns_764525879260, (0.745,-0.08)))
full_adder.add(gdstk.Reference(m2_m1_cdns_764525879261, (-0.305,-0.27)))
full_adder.add(gdstk.Reference(m2_m1_cdns_764525879261, (0.395,-1.355)))
full_adder.add(gdstk.Reference(m2_m1_cdns_764525879261, (1.16,-1.36)))
full_adder.add(gdstk.Reference(m2_m1_cdns_764525879261, (-2.205,-0.25)))
full_adder.add(gdstk.Reference(m2_m1_cdns_764525879261, (-0.27,-1)))
full_adder.add(gdstk.Reference(m2_m1_cdns_764525879261, (0.95,-0.68)))
full_adder.add(gdstk.Reference(m2_m1_cdns_764525879261, (1.255,-0.035)))
full_adder.add(gdstk.Reference(m2_m1_cdns_764525879261, (0.295,-0.045)))
full_adder.add(gdstk.Reference(m2_m1_cdns_764525879261, (0.95,-0.08)))
full_adder.add(gdstk.Reference(m2_m1_cdns_764525879261, (0.745,-0.695)))
full_adder.add(gdstk.Reference(m3_m2_cdns_764525879262, (-0.305,-0.27)))
full_adder.add(gdstk.Reference(m3_m2_cdns_764525879262, (0.395,-1.355)))
full_adder.add(gdstk.Reference(m3_m2_cdns_764525879262, (-2.205,-0.25)))
full_adder.add(gdstk.Reference(m3_m2_cdns_764525879262, (-0.27,-1)))
full_adder.add(gdstk.Reference(m3_m2_cdns_764525879262, (0.95,-0.68)))
full_adder.add(gdstk.Reference(m3_m2_cdns_764525879262, (0.295,-0.045)))
full_adder.add(gdstk.Reference(m3_m2_cdns_764525879262, (1.255,-0.035)))
full_adder.add(gdstk.Reference(c_m1_nwell_cdns_7645258792, (0.76,0.695)))
full_adder.add(gdstk.Reference(c_m1_psub_cdns_76452587926, (0.77,-1.65)))
full_adder.add(gdstk.Reference(m2_m1_cdns_764525879265, (0.765,0.695)))
full_adder.add(gdstk.Reference(m2_m1_cdns_764525879265, (-1.195,0.24)))
full_adder.add(gdstk.Reference(m2_m1_cdns_764525879265, (-3.095,0.24)))
full_adder.add(gdstk.Reference(m2_m1_cdns_764525879265, (-1.225,-0.445)))
full_adder.add(gdstk.Reference(m3_m2_cdns_764525879266, (-1.225,-0.445)))
full_adder.add(gdstk.Reference(m3_m2_cdns_764525879267, (-0.3,1.2)))
full_adder.add(gdstk.Reference(m3_m2_cdns_764525879267, (-3.495,-1.995)))
full_adder.add(gdstk.Reference(m3_m2_cdns_764525879267, (-2.15,-1.995)))
full_adder.add(gdstk.Reference(m3_m2_cdns_764525879267, (-0.515,-0.13)))
full_adder.add(gdstk.Reference(m2_m1_cdns_764525879268, (-0.3,1.2)))
full_adder.add(gdstk.Reference(m2_m1_cdns_764525879268, (-3.495,-1.995)))
full_adder.add(gdstk.Reference(m2_m1_cdns_764525879268, (-2.15,-1.995)))
full_adder.add(gdstk.Reference(m3_m2_cdns_764525879269, (0.785,-2.005)))
full_adder.add(gdstk.Reference(m3_m2_cdns_764525879269, (1.61,1.165)))
full_adder.add(gdstk.Reference(m3_m2_cdns_764525879269, (2.325,0)))
full_adder.add(gdstk.Reference(m3_m2_cdns_764525879269, (-3.83,-1.35)))
full_adder.add(gdstk.Reference(m2_m1_cdns_7645258792610, (0.785,-2.005)))
full_adder.add(gdstk.Reference(m2_m1_cdns_7645258792610, (1.61,1.165)))
full_adder.add(gdstk.Reference(m2_m1_cdns_7645258792610, (2.325,0)))
full_adder.add(gdstk.Reference(m2_m1_cdns_7645258792610, (-3.83,-1.35)))
full_adder.add(gdstk.Reference(m4_m3_cdns_7645258792611, (0.785,-2.005)))
full_adder.add(gdstk.Reference(m4_m3_cdns_7645258792611, (1.61,1.165)))
full_adder.add(gdstk.Reference(m5_m4_cdns_7645258792612, (0.785,-2.005)))
full_adder.add(gdstk.Reference(m5_m4_cdns_7645258792612, (1.61,1.165)))
full_adder.add(gdstk.Reference(m6_m5_cdns_7645258792613, (0.785,-2.005)))
full_adder.add(gdstk.Reference(m6_m5_cdns_7645258792613, (1.61,1.165)))
full_adder.add(gdstk.Reference(m7_m6_cdns_7645258792614, (0.785,-2.005)))
full_adder.add(gdstk.Reference(m7_m6_cdns_7645258792614, (1.61,1.165)))
full_adder.add(gdstk.Reference(m8_m7_cdns_7645258792615, (0.785,-2.005)))
full_adder.add(gdstk.Reference(m8_m7_cdns_7645258792615, (1.61,1.165)))
full_adder.add(gdstk.Reference(m9_m8_cdns_7645258792616, (0.785,-2.005)))
full_adder.add(gdstk.Reference(m9_m8_cdns_7645258792616, (1.61,1.165)))
full_adder.add(gdstk.Reference(m10_m9_cdns_764525879261, (0.795,-2.005)))
full_adder.add(gdstk.Reference(m10_m9_cdns_764525879261, (1.62,1.17)))
full_adder.add(gdstk.Reference(m11_m10_cdns_76452587926, (0.795,-2.005)))
full_adder.add(gdstk.Reference(m11_m10_cdns_76452587926, (1.62,1.17)))
full_adder.add(gdstk.Label('VDD', (1.64,0.74), layer=2, texttype=0))
full_adder.add(gdstk.Label('A', (-2.415,-0.085), layer=7, texttype=0))
full_adder.add(gdstk.Label('VSS', (1.645,-0.5), layer=7, texttype=0))
full_adder.add(gdstk.Label('Ci', (-0.52,-0.075), layer=7, texttype=0))
full_adder.add(gdstk.Label('B', (-3.14,-0.445), layer=7, texttype=0))
full_adder.add(gdstk.Label('Co', (1.82,-0.01), layer=7, texttype=0))
full_adder.add(gdstk.Label('S', (-0.24,-0.26), layer=7, texttype=0))

lib.write_gds('full_adder.gds')
